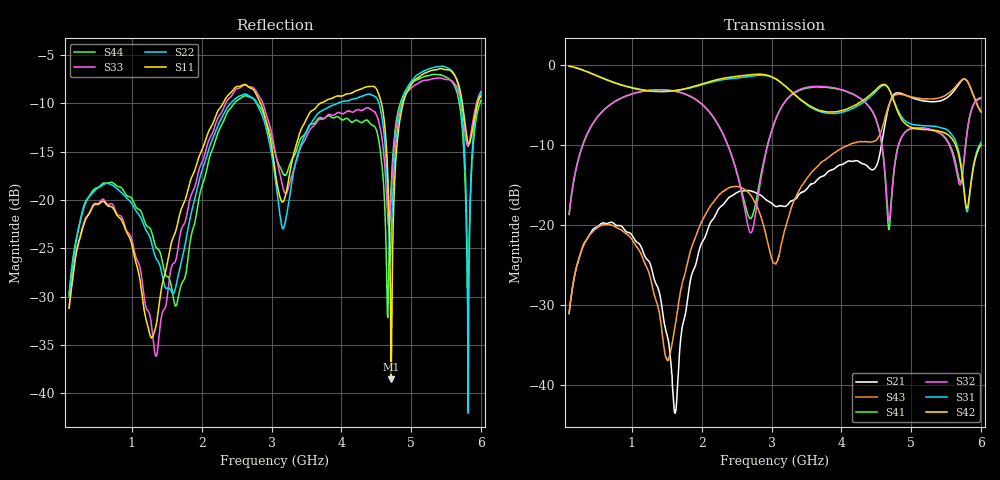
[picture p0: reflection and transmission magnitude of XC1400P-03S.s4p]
# MHZ S RI R 50.00
! FREQ  S11  S12  S13  S14
!  S21  S22  S23  S24
!  S31  S32  S33  S34
!  S41  S42  S43  S44
!  REAL  IMAG  REAL  IMAG  REAL  IMAG  REAL  IMAG
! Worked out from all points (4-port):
!   1181 points, 100 MHz to 6 GHz, reference 50 ohm
!   strongest paths, dB at 100 MHz, 1.575 GHz, 3.05 GHz, 4.525 GHz, 6 GHz:
!     S42: -0.1, -3.2, -1.6, -2.8, -10.0
!     S31: -0.1, -3.2, -1.7, -3.0, -9.7
!     S32: -18.7, -3.2, -7.0, -7.5, -4.2
!     S41: -18.7, -3.2, -7.0, -7.6, -4.0
!     S43: -31.0, -34.8, -24.8, -9.1, -5.7
!     S21: -31.1, -38.8, -17.6, -12.1, -5.8
!   lowest |S11| = -38.5 dB at 4.715 GHz (marker M1), VSWR 1.02, Z = 50.9 + j0.734 ohm
!   |S11| at or under -10 dB: start of sweep to 2.308 GHz; 2.843 GHz to 3.699 GHz (855.7 MHz wide, 26.2 % of centre); 4.575 GHz to 4.887 GHz (311.8 MHz wide, 6.59 % of centre)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
100  -0.00411 -0.0273  0.00813 0.0267  0.969 -0.1935  0.0245 0.1142
     0.0081 0.0267  -0.00571 -0.0312  0.0245 0.1142  0.9697 -0.1937
     0.9691 -0.194  0.0245 0.1141  -0.00337 -0.0273  0.00803 0.0268
     0.0244 0.1142  0.9694 -0.1934  0.00809 0.0269  -0.00508 -0.032
1620  0.0179 -0.0652  -0.00354 0.0053  -0.4588 -0.5205  0.534 -0.4344
      -0.0038 0.00544  -0.0123 -0.0323  0.5244 -0.4472  -0.4519 -0.5293
      -0.4589 -0.5202  0.5248 -0.4468  0.0152 -0.0454  0.00138 0.0228
      0.5343 -0.4345  -0.4516 -0.5295  0.00194 0.0236  -0.0209 -0.0192
2155  0.0417 -0.243  0.0879 -0.0627  -0.7847 -0.0742  0.1101 -0.4693
      0.0878 -0.0625  0.0249 -0.2051  0.0917 -0.4742  -0.7958 -0.0866
      -0.7852 -0.0743  0.0922 -0.4736  0.0367 -0.2186  0.127 -0.0522
      0.1103 -0.4688  -0.7955 -0.0857  0.1268 -0.0521  0.0471 -0.1771
2970  -0.2143 -0.0206  -0.038 0.1346  -0.0981 0.8485  0.3514 -0.00975
      -0.0379 0.1347  -0.1957 0.0211  0.3472 0.00549  -0.0872 0.8561
      -0.0976 0.848  0.3473 0.00564  -0.2448 -0.0212  -0.0429 0.055
      0.3511 -0.00976  -0.0874 0.8561  -0.0435 0.055  -0.2223 -0.0433
4495  -0.36 -0.1168  -0.2184 -0.0768  0.5112 -0.4565  -0.3599 -0.287
      -0.2179 -0.0765  -0.3375 -0.0416  -0.3692 -0.2831  0.4829 -0.5114
      0.5131 -0.456  -0.3688 -0.2824  -0.2631 -0.0935  -0.34 -0.00103
      -0.3591 -0.2868  0.4845 -0.51  -0.3391 -0.00192  -0.2285 -0.0495
4715  0.0094 0.0072  -0.6148 -0.0373  0.00104 -0.6649  0.0201 -0.134
      -0.6149 -0.0365  0.0613 -0.00513  0.00214 -0.1402  -0.0866 -0.6552
      0.00158 -0.6649  0.00299 -0.1404  -0.01 -0.1081  -0.5904 0.1601
      0.021 -0.1346  -0.0855 -0.6551  -0.5899 0.1599  0.0442 -0.1107
6000  -0.3393 -0.064  0.5121 -0.017  -0.3107 -0.108  -0.2829 -0.5619
      0.5119 -0.0163  -0.3365 -0.1251  -0.3061 -0.536  -0.2563 -0.1875
      -0.3101 -0.108  -0.3059 -0.5373  -0.364 0.00682  0.5107 -0.0669
      -0.2833 -0.5613  -0.2558 -0.1876  0.5118 -0.0662  -0.3084 -0.1066
